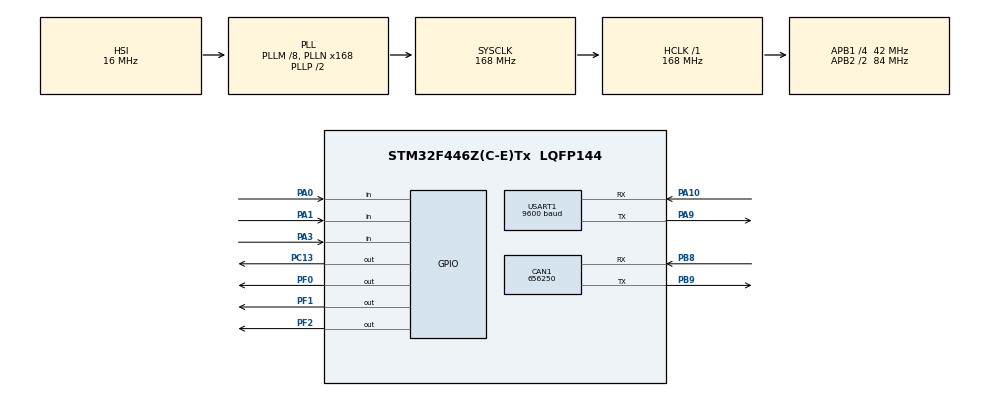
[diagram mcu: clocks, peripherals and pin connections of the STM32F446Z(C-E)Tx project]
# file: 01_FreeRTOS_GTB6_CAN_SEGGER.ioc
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CAN1.BS1=CAN_BS1_2TQ
CAN1.BS2=CAN_BS2_1TQ
CAN1.CalculateBaudRate=656250
CAN1.CalculateTimeBit=1523
CAN1.CalculateTimeQuantum=380.95238095238096
FREERTOS.Tasks01=defaultTask,24,128,StartDefaultTask,Default,NULL,Dynamic,NULL,NULL;myTask02,9,128,StartTask02,Default,NULL,Dynamic,NULL,NULL;myTask03,9,128,StartTask03,Default,NULL,Dynamic,NULL,NULL
Mcu.Family=STM32F4
Mcu.Name=STM32F446Z(C-E)Tx
Mcu.Package=LQFP144
NVIC.PriorityGroup=NVIC_PRIORITYGROUP_4
NVIC.TIM6_DAC_IRQn=true\:15\:0\:false\:false\:true\:false\:false\:true\:true
NVIC.TimeBase=TIM6_DAC_IRQn
NVIC.TimeBaseIP=TIM6
PA0-WKUP.Signal=GPIO_Input
PA1.Signal=GPIO_Input
PA10.Mode=Asynchronous
PA10.Signal=USART1_RX
PA13.Mode=Serial_Wire
PA13.Signal=SYS_JTMS-SWDIO
PA14.Mode=Serial_Wire
PA14.Signal=SYS_JTCK-SWCLK
PA3.Signal=GPIO_Input
PA9.Mode=Asynchronous
PA9.Signal=USART1_TX
PB8.Mode=CAN_Activate
PB8.Signal=CAN1_RX
PB9.Mode=CAN_Activate
PB9.Signal=CAN1_TX
PC13.Signal=GPIO_Output
PF0.Signal=GPIO_Output
PF1.Signal=GPIO_Output
PF2.Signal=GPIO_Output
PH0-OSC_IN.Mode=HSE-External-Oscillator
PH0-OSC_IN.Signal=RCC_OSC_IN
PH1-OSC_OUT.Mode=HSE-External-Oscillator
PH1-OSC_OUT.Signal=RCC_OSC_OUT
ProjectManager.HeapSize=0x200
ProjectManager.StackSize=0x400
ProjectManager.TargetToolchain=STM32CubeIDE
RCC.AHBFreq_Value=168000000
RCC.APB1CLKDivider=RCC_HCLK_DIV4
RCC.APB1Freq_Value=42000000
RCC.APB1TimFreq_Value=84000000
RCC.APB2CLKDivider=RCC_HCLK_DIV2
RCC.APB2Freq_Value=84000000
RCC.APB2TimFreq_Value=168000000
RCC.CortexFreq_Value=168000000
RCC.HCLKFreq_Value=168000000
RCC.PLLM=8
RCC.PLLN=168
RCC.SYSCLKFreq_VALUE=168000000
RCC.SYSCLKSource=RCC_SYSCLKSOURCE_PLLCLK
RCC.USBFreq_Value=168000000
RCC.VCOOutputFreq_Value=336000000
USART1.BaudRate=9600
USART1.VirtualMode=VM_ASYNC
VP_FREERTOS_VS_CMSIS_V2.Mode=CMSIS_V2
VP_SYS_VS_tim6.Mode=TIM6
board=custom

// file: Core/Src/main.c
/* USER CODE BEGIN Header */
/**
  ******************************************************************************
  * @file           : main.c
  * @brief          : Main program body
  ******************************************************************************
  * @attention
  *
  * Copyright (c) 2024 STMicroelectronics.
  * All rights reserved.
  *
  * This software is licensed under terms that can be found in the LICENSE file
  * in the root directory of this software component.
  * If no LICENSE file comes with this software, it is provided AS-IS.
  *
  ******************************************************************************
  */
/* USER CODE END Header */
#include "main.h"
#include "cmsis_os.h"

/* USER CODE BEGIN Includes */
#include "string.h"
/* USER CODE END Includes */

/* USER CODE BEGIN PD */
CAN_FilterTypeDef sFilterConfig;
/* USER CODE END PD */

CAN_HandleTypeDef hcan1;

UART_HandleTypeDef huart1;

/* Definitions for defaultTask */
osThreadId_t defaultTaskHandle;
const osThreadAttr_t defaultTask_attributes = {
  .name = "defaultTask",
  .stack_size = 128 * 4,
  .priority = (osPriority_t) osPriorityNormal,
};
/* Definitions for myTask02 */
osThreadId_t myTask02Handle;
const osThreadAttr_t myTask02_attributes = {
  .name = "myTask02",
  .stack_size = 128 * 4,
  .priority = (osPriority_t) osPriorityLow1,
};
/* Definitions for myTask03 */
osThreadId_t myTask03Handle;
const osThreadAttr_t myTask03_attributes = {
  .name = "myTask03",
  .stack_size = 128 * 4,
  .priority = (osPriority_t) osPriorityLow1,
};

void SystemClock_Config(void);
static void MX_GPIO_Init(void);
static void MX_CAN1_Init(void);
static void MX_USART1_UART_Init(void);
void StartDefaultTask(void *argument);
void StartTask02(void *argument);
void StartTask03(void *argument);

/* USER CODE BEGIN 0 */
CAN_TxHeaderTypeDef TxTransmitter;
CAN_RxHeaderTypeDef RxReceiver;

unsigned char TxData[8];
uint16_t RxData[8];
uint32_t TxMailbox;
/* USER CODE END 0 */

int main(void)
{
  /* USER CODE BEGIN 1 */
	//DWT ->CTRL |= (1 <<0);

  /* USER CODE END 1 */

  /* MCU Configuration--------------------------------------------------------*/

  /* Reset of all peripherals, Initializes the Flash interface and the Systick. */
  HAL_Init();

  /* USER CODE BEGIN Init */
  SEGGER_SYSVIEW_Conf();
  SEGGER_SYSVIEW_Start();

  /* USER CODE END Init */

  /* Configure the system clock */
  SystemClock_Config();

  /* Initialize all configured peripherals */
  MX_GPIO_Init();
  MX_CAN1_Init();
  MX_USART1_UART_Init();
  /* USER CODE BEGIN 2 */
  HAL_CAN_Start(&hcan1);
  if (HAL_CAN_ActivateNotification(&hcan1, CAN_IT_RX_FIFO0_MSG_PENDING) != HAL_OK)
 	  {
 	    Error_Handler();
 	  }
 	  sFilterConfig.FilterBank = 0;
 	  sFilterConfig.FilterMode = CAN_FILTERMODE_IDMASK;
 	  sFilterConfig.FilterScale = CAN_FILTERSCALE_32BIT;
 	  sFilterConfig.FilterIdHigh = 0x0000;
 	 sFilterConfig.FilterIdLow = 0x0000;
 	  sFilterConfig.FilterMaskIdHigh =0x0000;
 	  sFilterConfig.FilterMaskIdLow = 0x0000;
 	  sFilterConfig.FilterFIFOAssignment = CAN_RX_FIFO0;
 	  sFilterConfig.FilterActivation = ENABLE;
 	  if (HAL_CAN_ConfigFilter(&hcan1, &sFilterConfig) != HAL_OK)
 	  {
 	    Error_Handler();
 	  }
 		RxReceiver.StdId=0x000;
 		RxReceiver.DLC=8;
 		RxReceiver.IDE=CAN_ID_STD;
 		RxReceiver.RTR=CAN_RTR_DATA;
  /* USER CODE END 2 */

  /* Init scheduler */
  osKernelInitialize();

  /* Create the thread(s) */
  /* creation of defaultTask */
  defaultTaskHandle = osThreadNew(StartDefaultTask, NULL, &defaultTask_attributes);

  /* creation of myTask02 */
  myTask02Handle = osThreadNew(StartTask02, NULL, &myTask02_attributes);

  /* creation of myTask03 */
  myTask03Handle = osThreadNew(StartTask03, NULL, &myTask03_attributes);

  /* Start scheduler */
  osKernelStart();

  /* We should never get here as control is now taken by the scheduler */
  /* Infinite loop */
  while (1)
  {

  }
}

void SystemClock_Config(void)
{
  RCC_OscInitTypeDef RCC_OscInitStruct = {0};
  RCC_ClkInitTypeDef RCC_ClkInitStruct = {0};

  /** Configure the main internal regulator output voltage
  */
  __HAL_RCC_PWR_CLK_ENABLE();
  __HAL_PWR_VOLTAGESCALING_CONFIG(PWR_REGULATOR_VOLTAGE_SCALE1);

  /** Initializes the RCC Oscillators according to the specified parameters
  * in the RCC_OscInitTypeDef structure.
  */
  RCC_OscInitStruct.OscillatorType = RCC_OSCILLATORTYPE_HSI;
  RCC_OscInitStruct.HSIState = RCC_HSI_ON;
  RCC_OscInitStruct.HSICalibrationValue = RCC_HSICALIBRATION_DEFAULT;
  RCC_OscInitStruct.PLL.PLLState = RCC_PLL_ON;
  RCC_OscInitStruct.PLL.PLLSource = RCC_PLLSOURCE_HSI;
  RCC_OscInitStruct.PLL.PLLM = 8;
  RCC_OscInitStruct.PLL.PLLN = 168;
  RCC_OscInitStruct.PLL.PLLP = RCC_PLLP_DIV2;
  RCC_OscInitStruct.PLL.PLLQ = 2;
  RCC_OscInitStruct.PLL.PLLR = 2;
  if (HAL_RCC_OscConfig(&RCC_OscInitStruct) != HAL_OK)
  {
    Error_Handler();
  }

  /** Initializes the CPU, AHB and APB buses clocks
  */
  RCC_ClkInitStruct.ClockType = RCC_CLOCKTYPE_HCLK|RCC_CLOCKTYPE_SYSCLK
                              |RCC_CLOCKTYPE_PCLK1|RCC_CLOCKTYPE_PCLK2;
  RCC_ClkInitStruct.SYSCLKSource = RCC_SYSCLKSOURCE_PLLCLK;
  RCC_ClkInitStruct.AHBCLKDivider = RCC_SYSCLK_DIV1;
  RCC_ClkInitStruct.APB1CLKDivider = RCC_HCLK_DIV4;
  RCC_ClkInitStruct.APB2CLKDivider = RCC_HCLK_DIV2;

  if (HAL_RCC_ClockConfig(&RCC_ClkInitStruct, FLASH_LATENCY_5) != HAL_OK)
  {
    Error_Handler();
  }
}

static void MX_CAN1_Init(void)
{

  hcan1.Instance = CAN1;
  hcan1.Init.Prescaler = 16;
  hcan1.Init.Mode = CAN_MODE_NORMAL;
  hcan1.Init.SyncJumpWidth = CAN_SJW_1TQ;
  hcan1.Init.TimeSeg1 = CAN_BS1_2TQ;
  hcan1.Init.TimeSeg2 = CAN_BS2_1TQ;
  hcan1.Init.TimeTriggeredMode = DISABLE;
  hcan1.Init.AutoBusOff = DISABLE;
  hcan1.Init.AutoWakeUp = DISABLE;
  hcan1.Init.AutoRetransmission = DISABLE;
  hcan1.Init.ReceiveFifoLocked = DISABLE;
  hcan1.Init.TransmitFifoPriority = DISABLE;
  if (HAL_CAN_Init(&hcan1) != HAL_OK)
  {
    Error_Handler();
  }

}

static void MX_USART1_UART_Init(void)
{

  huart1.Instance = USART1;
  huart1.Init.BaudRate = 9600;
  huart1.Init.WordLength = UART_WORDLENGTH_8B;
  huart1.Init.StopBits = UART_STOPBITS_1;
  huart1.Init.Parity = UART_PARITY_NONE;
  huart1.Init.Mode = UART_MODE_TX_RX;
  huart1.Init.HwFlowCtl = UART_HWCONTROL_NONE;
  huart1.Init.OverSampling = UART_OVERSAMPLING_16;
  if (HAL_UART_Init(&huart1) != HAL_OK)
  {
    Error_Handler();
  }

}

static void MX_GPIO_Init(void)
{
  GPIO_InitTypeDef GPIO_InitStruct = {0};

  /* GPIO Ports Clock Enable */
  __HAL_RCC_GPIOC_CLK_ENABLE();
  __HAL_RCC_GPIOF_CLK_ENABLE();
  __HAL_RCC_GPIOH_CLK_ENABLE();
  __HAL_RCC_GPIOA_CLK_ENABLE();
  __HAL_RCC_GPIOB_CLK_ENABLE();

  /*Configure GPIO pin Output Level */
  HAL_GPIO_WritePin(GPIOC, GPIO_PIN_13, GPIO_PIN_RESET);

  /*Configure GPIO pin Output Level */
  HAL_GPIO_WritePin(GPIOF, GPIO_PIN_0|GPIO_PIN_1|GPIO_PIN_2, GPIO_PIN_RESET);

  /*Configure GPIO pin : PC13 */
  GPIO_InitStruct.Pin = GPIO_PIN_13;
  GPIO_InitStruct.Mode = GPIO_MODE_OUTPUT_PP;
  GPIO_InitStruct.Pull = GPIO_NOPULL;
  GPIO_InitStruct.Speed = GPIO_SPEED_FREQ_LOW;
  HAL_GPIO_Init(GPIOC, &GPIO_InitStruct);

  /*Configure GPIO pins : PF0 PF1 PF2 */
  GPIO_InitStruct.Pin = GPIO_PIN_0|GPIO_PIN_1|GPIO_PIN_2;
  GPIO_InitStruct.Mode = GPIO_MODE_OUTPUT_PP;
  GPIO_InitStruct.Pull = GPIO_NOPULL;
  GPIO_InitStruct.Speed = GPIO_SPEED_FREQ_LOW;
  HAL_GPIO_Init(GPIOF, &GPIO_InitStruct);

  /*Configure GPIO pins : PA0 PA1 PA3 */
  GPIO_InitStruct.Pin = GPIO_PIN_0|GPIO_PIN_1|GPIO_PIN_3;
  GPIO_InitStruct.Mode = GPIO_MODE_INPUT;
  GPIO_InitStruct.Pull = GPIO_NOPULL;
  HAL_GPIO_Init(GPIOA, &GPIO_InitStruct);

}

void StartDefaultTask(void *argument)
{
  /* USER CODE BEGIN 5 */
    CAN_TxHeaderTypeDef TxHeader;
    CAN_RxHeaderTypeDef RxReceiver;
    unsigned char TxData[8];

    uint32_t TxMailbox;
	TxTransmitter.StdId=0x000;
	TxTransmitter.DLC=8;
	TxTransmitter.IDE=CAN_ID_STD;
	TxTransmitter.RTR = CAN_RTR_DATA;
  /* Infinite loop */
  for(;;)
  {
      TxData[0] = 0x01;
      TxData[1] = 0x02;
	  HAL_CAN_AddTxMessage(&hcan1, &TxHeader, TxData, &TxMailbox);

	osDelay(1000);
  }
  /* USER CODE END 5 */
}

void StartTask02(void *argument)
{
  /* USER CODE BEGIN StartTask02 */
  /* Infinite loop */
  for(;;)
  {

      if (HAL_GPIO_ReadPin(GPIOA, GPIO_PIN_1) == GPIO_PIN_SET)
      {

          // LED'i yak
          HAL_GPIO_WritePin(GPIOF, GPIO_PIN_0, GPIO_PIN_SET); // LED'i yak
          osDelay(1000); // 1 saniye bekle
      }
      else
      {
          // PA0 pininde bir değişiklik yoksa LED'i söndür
    	  HAL_GPIO_WritePin(GPIOF, GPIO_PIN_0, GPIO_PIN_RESET); // LED'i söndür

      }
    osDelay(1000);
  }
  /* USER CODE END StartTask02 */
}

void StartTask03(void *argument)
{
  /* USER CODE BEGIN StartTask03 */
  /* Infinite loop */
	  /* USER CODE BEGIN 5 */
	    CAN_TxHeaderTypeDef TxHeader;
	    uint8_t TxData[8];
	    uint32_t TxMailbox;
		TxTransmitter.StdId=0x000;
		TxTransmitter.DLC=8;
		TxTransmitter.IDE=CAN_ID_STD;
		TxTransmitter.RTR = CAN_RTR_DATA;
	  /* Infinite loop */
	  for(;;)
	  {
	      TxData[0] = 0x01;
	      TxData[1] = 0x02;
		  HAL_CAN_AddTxMessage(&hcan1, &TxHeader, TxData, &TxMailbox);

		osDelay(1000);
	  }
  /* USER CODE END StartTask03 */
}

void HAL_TIM_PeriodElapsedCallback(TIM_HandleTypeDef *htim)
{
  if (htim->Instance == TIM6) {
    HAL_IncTick();
  }
}

void Error_Handler(void)
{
  __disable_irq();
  while (1)
  {
  }
}
